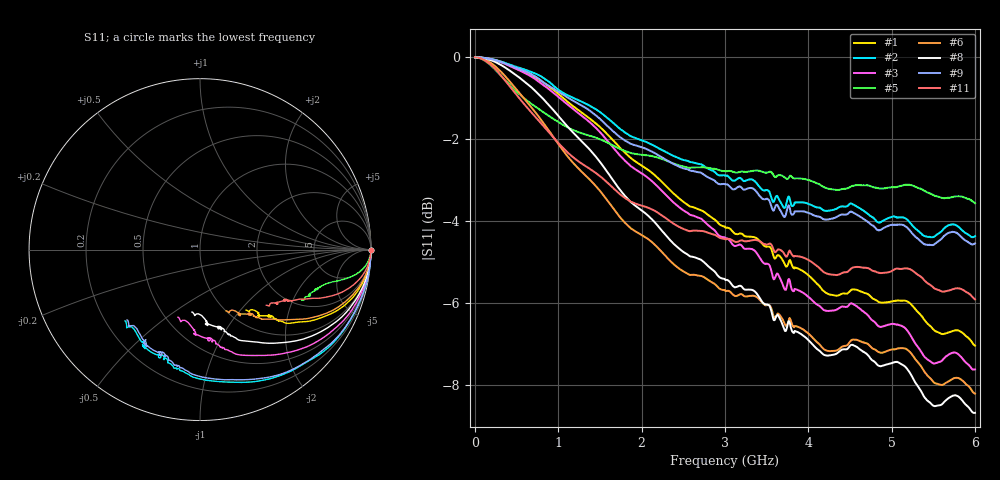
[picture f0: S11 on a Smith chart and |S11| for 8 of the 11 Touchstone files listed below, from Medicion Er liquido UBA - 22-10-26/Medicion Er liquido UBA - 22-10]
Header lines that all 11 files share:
! COPPER MOUNTAIN TECHNOLOGIES, R60, 23103002, 24.3.3/3.0
! Data: Format [Calibration Info]
! Frequency		S11: Re/Im RO
# HZ S RI R 50
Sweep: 1 MHz to 6 GHz
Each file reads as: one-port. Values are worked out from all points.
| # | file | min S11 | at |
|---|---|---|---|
| 1 | muestra2a236.s1p | -7.0 dB | 6 GHz |
| 2 | muestra4a224.s1p | -4.4 dB | 5.485 GHz |
| 3 | muestra5a224.s1p | -7.6 dB | 5.99 GHz |
| 4 | muestra6a225.s1p | -6.0 dB | 6 GHz |
| 5 | muestra7a225.s1p | -3.6 dB | 6 GHz |
| 6 | muestra8a225.s1p | -8.2 dB | 6 GHz |
| 7 | muestra9a226.s1p | -4.8 dB | 5.485 GHz |
| 8 | muestra10a227.s1p | -8.7 dB | 5.99 GHz |
| 9 | muestra11a228.s1p | -4.6 dB | 5.475 GHz |
| 10 | muestra12a228.s1p | -8.6 dB | 6 GHz |
| 11 | muestra13a228.s1p | -5.9 dB | 6 GHz |
